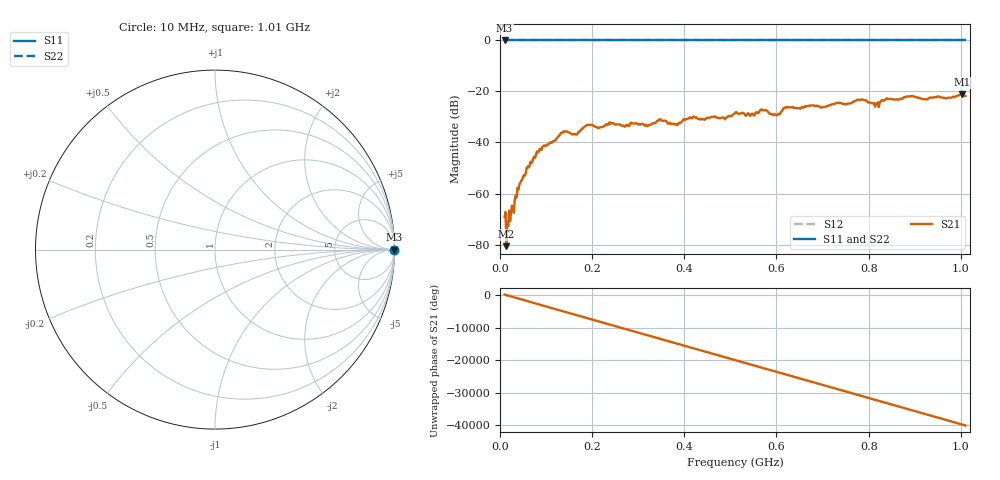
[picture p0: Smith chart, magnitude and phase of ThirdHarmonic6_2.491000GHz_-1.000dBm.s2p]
! 8/17/2025 4:42:58 AM
! C:\ANRITSUVNA\TEMP\TEMP.S2P
! CHANNEL.1
! TR.MEASUREMENT
! RAW.DATA
! RF.CORRECTION.OFF
! AVERAGING.OFF
! IF.BANDWIDTH: 5KHZ
! SWEEPTYPE:  FREQ.SWEEP(Linear)
! Reference Plane Port Info
! PORT:  PORT1  PORT2
! DISTANCE:  0  m  0  m
! TIME:  0  s  0  s
! PHASE.OFFSET:  0  deg.  0  deg.
! LOSS:  0  dB  0  dB
! REF.LOSS:  0  dB  0  dB
! REF.FREQ:  0  Hz  0  Hz
! Power Info
! POWER:  -20  dBm  -20  dBm
! EFF.POWER:  -20  dBm  -20  dBm
! SOURCE.ATTEN:  0  dB  0  dB
! TEST.ATTEN:  0  dB  0  dB
# GHZ S RI R 50.0
! FREQ.GHZ  S11RE  S11IM  S21RE  S21IM  S12RE  S12IM  S22RE  S22IM
!; PortSelection: Port_12
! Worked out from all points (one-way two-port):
!   501 points, 10 MHz to 1.01 GHz, reference 50 ohm
!   highest |S21| = -21.10 dB at 1.002 GHz (marker M1); lowest = -80.6 dB at 14 MHz (marker M2)
!   lowest |S11| = 0.0 dB at 10 MHz (marker M3)
!   |S11| at or under -10 dB: nowhere
!   |S22| runs from 0.0 to 0.0 dB; largest |S21 - S12| = 1.1
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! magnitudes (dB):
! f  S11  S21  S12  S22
! 10 MHz  0.0  -69.2  0.0  0.0
! 14 MHz  0.0  -80.6  0.0  0.0
! 18 MHz  0.0  -72.5  0.0  0.0
! 42 MHz  0.0  -56.5  0.0  0.0
! 84 MHz  0.0  -43.6  0.0  0.0
! 136 MHz  0.0  -36.2  0.0  0.0
! 164 MHz  0.0  -36.8  0.0  0.0
! 178 MHz  0.0  -34.6  0.0  0.0
! 242 MHz  0.0  -32.5  0.0  0.0
! 322 MHz  0.0  -33.2  0.0  0.0
! 344 MHz  0.0  -31.4  0.0  0.0
! 382 MHz  0.0  -32.8  0.0  0.0
! 510 MHz  0.0  -28.5  0.0  0.0
! 570 MHz  0.0  -27.3  0.0  0.0
! 602 MHz  0.0  -29.2  0.0  0.0
! 620 MHz  0.0  -26.4  0.0  0.0
! 678 MHz  0.0  -25.4  0.0  0.0
! 782 MHz  0.0  -23.4  0.0  0.0
! 818 MHz  0.0  -24.7  0.0  0.0
! 844 MHz  0.0  -23.0  0.0  0.0
! 1.002 GHz  0.0  -21.1  0.0  0.0
! 1.01 GHz  0.0  -21.8  0.0  0.0
